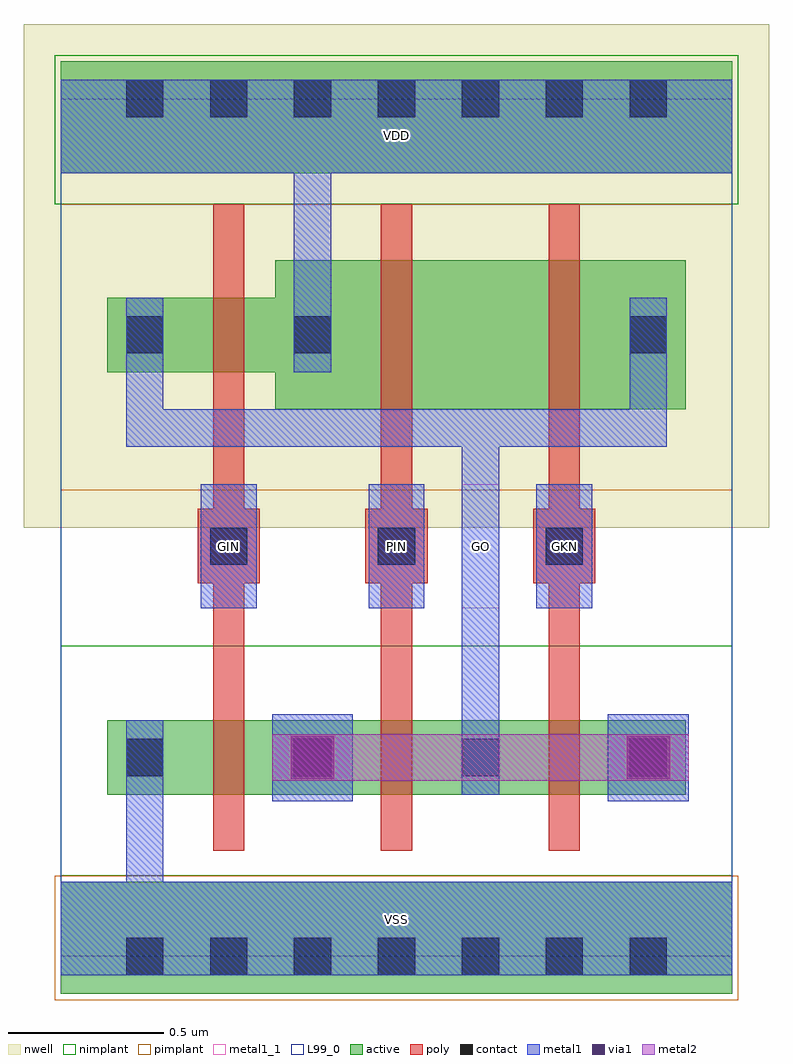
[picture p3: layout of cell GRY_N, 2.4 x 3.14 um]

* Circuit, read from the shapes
.subckt GRY_N GIN GKN GO PIN VDD VSS
M1 n1 GIN VSS VSS nfet w=0.24u l=0.1u
M2 GO PIN n1 VSS nfet w=0.24u l=0.1u
M3 n1 GKN GO VSS nfet w=0.24u l=0.1u
M4 VDD GIN GO VDD pfet w=0.24u l=0.1u
M5 n2 PIN VDD VDD pfet w=0.48u l=0.1u
M6 GO GKN n2 VDD pfet w=0.48u l=0.1u
.ends

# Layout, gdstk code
import gdstk
lib = gdstk.Library(unit=1e-6, precision=5e-10)
def R(c, l, rs):  # rectangles x0, y0, x1, y1
    for r in rs: c.add(gdstk.rectangle(r[:2], r[2:], *l))
def A(c, l, x, y, w, h, nx, ny, dx, dy):  # array of equal rectangles
    R(c, l, [(x+i*dx, y+j*dy, x+i*dx+w, y+j*dy+h) for i in range(nx) for j in range(ny)])
active = (1, 0)
nwell = (2, 0)
poly = (3, 0)
nimplant = (4, 0)
pimplant = (5, 0)
contact = (6, 0)
metal1 = (7, 0)
metal1_1 = (7, 1)
via1 = (8, 0)
metal2 = (9, 0)
L99_0 = (99, 0)

oai21_x1 = lib.new_cell('OAI21_X1')
A(oai21_x1, active, 0.15, 0.52, 0.24, 0.24, 4, 1, 0.54, 0)
A(oai21_x1, active, 0.39, 0.52, 0.3, 0.24, 3, 1, 0.54, 0)
A(oai21_x1, active, 0.69, 1.76, 0.24, 0.48, 3, 1, 0.54, 0)
R(oai21_x1, active, [(0,-0.12,2.16,0.24), (0.93,1.76,1.23,2.24), (1.47,1.76,1.77,2.24), (0.15,1.88,0.39,2.12), (0.39,1.88,0.69,2.12), (0,2.52,2.16,2.88)])
R(oai21_x1, nwell, [(-0.12,1.38,2.28,3)])
A(oai21_x1, poly, 0.49, 0.34, 0.1, 2.08, 3, 1, 0.54, 0)
A(oai21_x1, poly, 0.44, 1.2, 0.2, 0.24, 3, 1, 0.54, 0)
R(oai21_x1, nimplant, [(0,0.26,2.16,1), (-0.02,2.42,2.18,2.9)])
R(oai21_x1, pimplant, [(-0.02,-0.14,2.18,0.26), (0,1.5,2.16,2.42)])
A(oai21_x1, contact, 0.21, -0.06, 0.12, 0.12, 7, 2, 0.27, 2.76)
A(oai21_x1, contact, 0.21, 0.58, 0.12, 0.12, 4, 1, 0.54, 0)
A(oai21_x1, contact, 0.48, 1.26, 0.12, 0.12, 3, 1, 0.54, 0)
R(oai21_x1, contact, [(0.21,1.94,0.33,2.06), (0.75,1.94,0.87,2.06), (1.83,1.94,1.95,2.06)])
A(oai21_x1, metal1, 0.21, 0.52, 0.12, 0.24, 4, 1, 0.54, 0)
A(oai21_x1, metal1, 0.45, 1.12, 0.18, 0.4, 3, 1, 0.54, 0)
R(oai21_x1, metal1, [(0,-0.06,2.16,0.24), (0.21,0.06,0.33,0.7), (0.68,0.5,0.94,0.78), (1.76,0.5,2.02,0.78), (1.29,0.58,1.41,1.76), (0.21,1.64,0.33,2.06), (0.21,1.64,1.95,1.76), (1.83,1.64,1.95,2.06), (0.21,1.88,0.33,2.12), (0.75,1.88,0.87,2.12), (1.83,1.88,1.95,2.12), (0.75,1.94,0.87,2.7), (0,2.52,2.16,2.82)])
A(oai21_x1, metal1_1, 0.45, 1.12, 0.18, 0.4, 3, 1, 0.54, 0)
R(oai21_x1, metal1_1, [(0,0,2.16,0.24), (1.29,1.12,1.41,1.52), (0,2.52,2.16,2.76)])
R(oai21_x1, via1, [(0.74,0.57,0.88,0.71), (1.82,0.57,1.96,0.71)])
R(oai21_x1, metal2, [(0.68,0.565,2.02,0.715)])
R(oai21_x1, L99_0, [(0,0,2.16,2.76)])
oai21_x1.add(gdstk.Label('Y', (1.35,1.32), layer=7, texttype=3))
oai21_x1.add(gdstk.Label('A2', (1.62,1.32), layer=7, texttype=3))
oai21_x1.add(gdstk.Label('A1', (1.08,1.32), layer=7, texttype=3))
oai21_x1.add(gdstk.Label('B', (0.54,1.32), layer=7, texttype=3))
oai21_x1.add(gdstk.Label('VDD', (1.08,2.64), layer=7, texttype=3))
oai21_x1.add(gdstk.Label('VSS', (1.08,0.12), layer=7, texttype=3))

gry_n = lib.new_cell('GRY_N')
A(gry_n, metal1_1, 0.45, 1.12, 0.18, 0.4, 3, 1, 0.54, 0)
R(gry_n, metal1_1, [(0,0,2.16,0.24), (1.29,1.12,1.41,1.52), (0,2.52,2.16,2.76)])
R(gry_n, L99_0, [(0,0,2.16,2.76)])
gry_n.add(gdstk.Reference(oai21_x1, (0,0)))
gry_n.add(gdstk.Label('VDD', (1.08,2.64), layer=7, texttype=3))
gry_n.add(gdstk.Label('VSS', (1.08,0.12), layer=7, texttype=3))
gry_n.add(gdstk.Label('GO', (1.35,1.32), layer=7, texttype=3))
gry_n.add(gdstk.Label('GKN', (1.62,1.32), layer=7, texttype=3))
gry_n.add(gdstk.Label('PIN', (1.08,1.32), layer=7, texttype=3))
gry_n.add(gdstk.Label('GIN', (0.54,1.32), layer=7, texttype=3))

lib.write_gds('GRY_N.gds')
